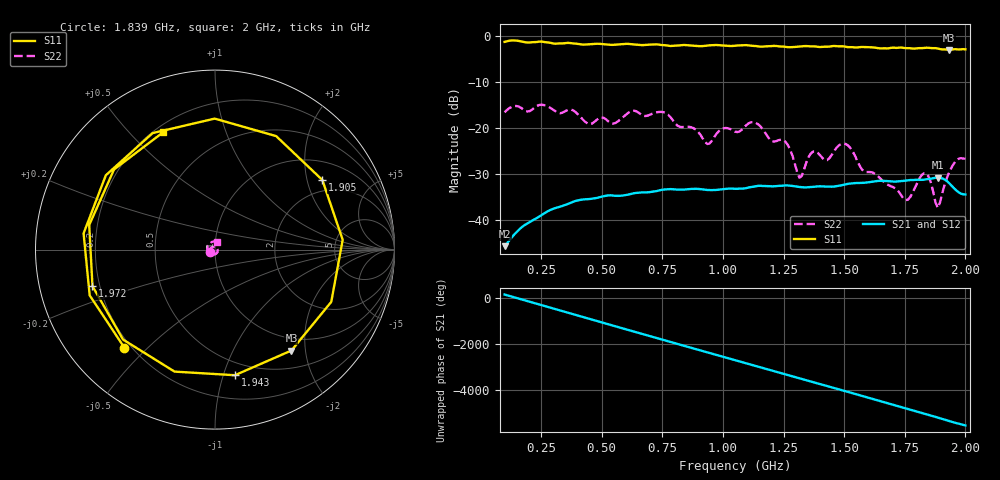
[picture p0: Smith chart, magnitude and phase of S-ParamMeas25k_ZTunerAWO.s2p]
!Keysight Technologies,N5242B,MY48420967,A.15.65.19
!Date: Monday, December 19, 2022 09:34:11
!Correction: S11(C  2-Port  )
!S21(C  2-Port  )
!S12(C  2-Port  )
!S22(C  2-Port  )
!S2P File: Measurements: S11, S21, S12, S22:
# Hz S  dB  R 50
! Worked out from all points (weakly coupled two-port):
!   201 points, 100 MHz to 2 GHz, reference 50 ohm
!   highest |S21| = -30.82 dB at 1.886 GHz (marker M1); lowest = -45.7 dB at 100 MHz (marker M2)
!   lowest |S11| = -3.0 dB at 1.933 GHz (marker M3), VSWR 5.79, Z = 38.9 - j87.1 ohm
!   |S11| at or under -10 dB: nowhere
!   |S22| runs from -37.4 to -15.0 dB; largest |S21 - S12| = 3.3e-05
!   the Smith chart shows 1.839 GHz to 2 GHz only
!   S11 on the Smith chart (normalised r, x): 1.839 GHz: 0.17, -0.43; 1.905 GHz: 1.58, +2.49; 1.943 GHz: 0.39, -1.09; 1.972 GHz: 0.17, -0.14; 2 GHz: 0.23, +0.63
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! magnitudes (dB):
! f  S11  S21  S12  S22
! 100 MHz  -1.3  -45.7  -45.7  -16.6
! 252 MHz  -1.2  -39.0  -39.0  -15.0
! 423 MHz  -1.9  -35.6  -35.6  -18.3
! 736.5 MHz  -1.9  -33.6  -33.6  -16.5
! 936 MHz  -2.1  -33.5  -33.5  -23.5
! 1.05 GHz  -2.1  -33.3  -33.3  -20.8
! 1.126 GHz  -2.2  -32.8  -32.8  -18.8
! 1.25 GHz  -2.3  -32.6  -32.6  -22.7
! 1.316 GHz  -2.3  -32.9  -32.9  -30.8
! 1.373 GHz  -2.3  -32.8  -32.8  -25.2
! 1.43 GHz  -2.4  -32.8  -32.8  -27.0
! 1.506 GHz  -2.4  -32.3  -32.3  -23.5
! 1.582 GHz  -2.4  -32.0  -32.0  -29.5
! 1.687 GHz  -2.7  -31.6  -31.6  -32.6
! 1.762 GHz  -2.7  -31.4  -31.4  -35.7
! 1.839 GHz  -2.6  -31.2  -31.2  -29.9
! 1.886 GHz  -2.7  -30.8  -30.8  -37.4
! 1.905 GHz  -2.9  -31.0  -31.0  -34.2
! 1.933 GHz  -3.0  -32.1  -32.1  -29.7
! 1.943 GHz  -3.0  -32.6  -32.6  -28.6
! 1.972 GHz  -2.9  -34.0  -34.0  -26.7
! 2 GHz  -2.9  -34.5  -34.5  -26.7
